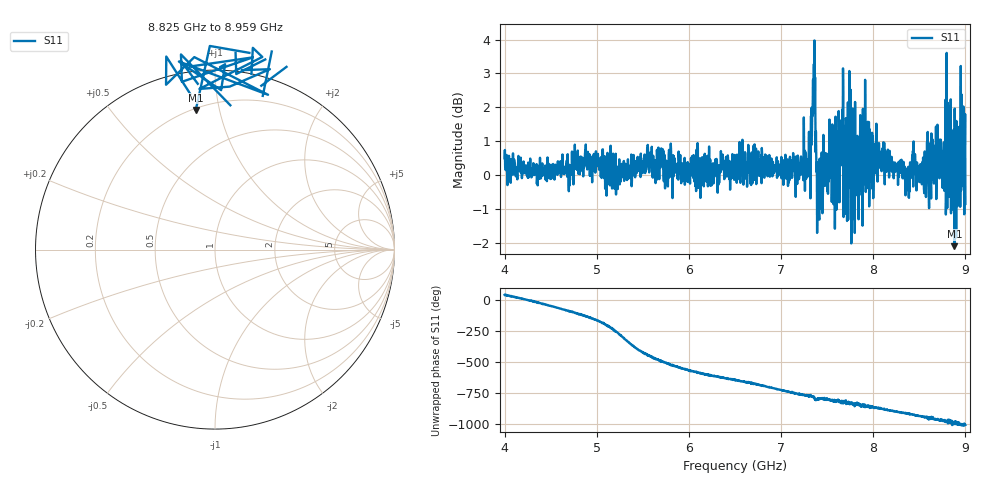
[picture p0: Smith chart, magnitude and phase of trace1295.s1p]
! Created with skrf 1.8.0 (http://scikit-rf.org).
# Hz S RI R 50.0
!freq ReS11 ImS11
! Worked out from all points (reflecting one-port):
!   1601 points, 4 GHz to 9 GHz, reference 50 ohm
!   lowest |S11| = -2.1 dB at 8.881 GHz (marker M1), VSWR 8.29, Z = 10.5 + j42.5 ohm
!   phase of S11 starts at 40 deg and turns -1047 deg over the sweep
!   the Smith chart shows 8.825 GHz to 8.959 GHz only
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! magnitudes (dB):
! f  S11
! 4 GHz  0.5
! 4.625 GHz  0.1
! 4.897 GHz  0.2
! 5.25 GHz  -0.3
! 5.572 GHz  0.4
! 5.875 GHz  -0.1
! 6.5 GHz  0.2
! 7.125 GHz  0.3
! 7.294 GHz  0.5
! 7.347 GHz  2.8
! 7.362 GHz  4.0
! 7.397 GHz  -1.3
! 7.412 GHz  -1.3
! 7.519 GHz  0.4
! 7.609 GHz  -0.8
! 7.65 GHz  1.6
! 7.688 GHz  1.1
! 7.703 GHz  1.7
! 7.75 GHz  0.5
! 7.788 GHz  0.0
! 7.928 GHz  0.4
! 8.375 GHz  0.1
! 8.766 GHz  1.0
! 8.816 GHz  -0.6
! 8.881 GHz  -2.1
! 8.953 GHz  -0.5
! 8.972 GHz  0.0
! 9 GHz  -0.9
